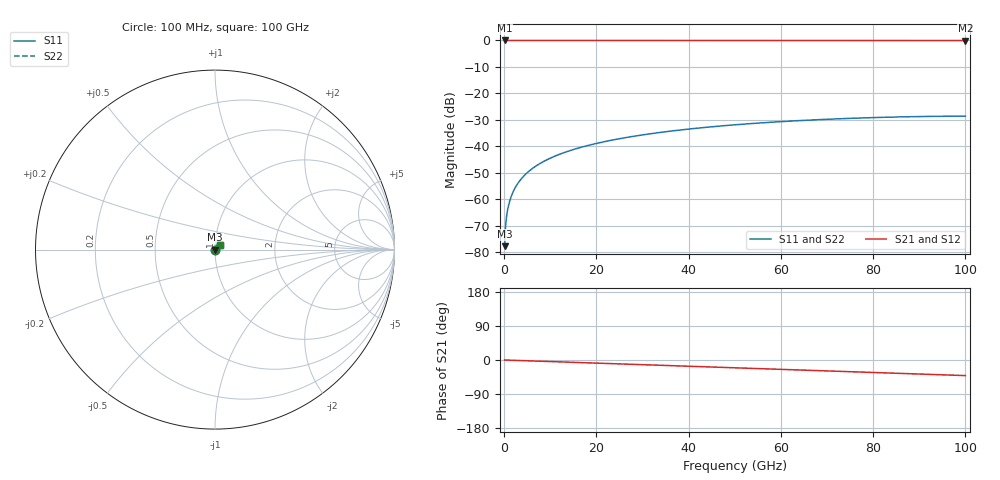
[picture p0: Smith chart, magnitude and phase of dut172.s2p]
! Touchstone file exported from HFSS 2026.1.0
!  File:  C:/ffzhzh/LocalFiles/Ansys_Project_Files/temp_train_TSV_172_1783506974_55944.aedt
!  Generated:  06:37:27 PM Jul  8, 2026
!  Design:  TSV
!  Project:  temp_train_TSV_172_1783506974_55944
! Variables:
!  h_bsmrdl = 2um
!  h_ox = 20um
!  h_rdl = 5um
!  h_sub = 79.19um
!  h_tmrdl = 5um
!  h_tsv = 79.19um
!  h_via = 3um
!  l_bsmrdl = 300um
!  l_sub = 425.8um
!  l_tmrdl = 200um
!  m_sub = 200um
!  pitch = 56.05um
!  r_tsv = 12.9um
!  s_tmrdl = 10um
!  w_bsmrdl = 18um
!  w_sub = 500um
!  w_tmrdl = 12um
!  x_tsv_center1 = 206um
!  x_tsv_center2 = 524um
!  x_tsv_center3 = 736um
!  x_tsv_center4 = 1054um
!  x_tsv_center5 = 1266um
!  x_tsv_center6 = 1584um
# GHz S MA R 50.000000
! Terminal data exported
! Port[1] = TSV1_1_T1
! Port[2] = TSV1_1_T2
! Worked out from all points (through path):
!   1000 points, 100 MHz to 100 GHz, reference 50 ohm
!   highest |S21| = 0.00 dB at 100 MHz (marker M1); lowest = 0.0 dB at 100 GHz (marker M2)
!   group delay of S21, straight-line fit = 1.14 ps
!   lowest |S11| = -77.8 dB at 100 MHz (marker M3), VSWR 1.00, Z = 50 + j0.00962 ohm
!   |S11| at or under -10 dB: start of sweep to end of sweep
!   |S22| runs from -77.8 to -28.6 dB; largest |S21 - S12| = 2.1e-15
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0.1  0.0001286 48.4  0.9999 -0.0  0.9999 -0.0  0.0001286 48.4
! Gamma 0 0 0 0
! Port Impedance 50 0 50 0
0.3  0.0002978 66.6  0.9999 -0.1  0.9999 -0.1  0.0002978 66.6
0.7  0.0005924 70.6  0.9998 -0.3  0.9998 -0.3  0.0005924 70.6
0.8  0.0006581 71.2  0.9998 -0.3  0.9998 -0.3  0.0006581 71.2
1  0.0007857 72.2  0.9998 -0.4  0.9998 -0.4  0.0007857 72.2
1.3  0.0009728 73.6  0.9997 -0.5  0.9997 -0.5  0.0009728 73.6
1.8  0.00128 75.3  0.9997 -0.8  0.9997 -0.8  0.00128 75.3
2.4  0.001643 76.5  0.9996 -1.0  0.9996 -1.0  0.001643 76.5
3.1  0.002058 77.3  0.9996 -1.3  0.9996 -1.3  0.002058 77.3
3.9  0.002523 77.9  0.9995 -1.6  0.9995 -1.6  0.002523 77.9
4.9  0.003094 78.4  0.9995 -2.0  0.9995 -2.0  0.003094 78.4
6.1  0.003772 78.8  0.9994 -2.5  0.9994 -2.5  0.003772 78.8
8.9  0.005332 78.9  0.9993 -3.7  0.9993 -3.7  0.005333 78.9
12.4  0.007249 78.3  0.9991 -5.1  0.9991 -5.1  0.00725 78.3
16.8  0.009603 77.3  0.999 -6.9  0.999 -6.9  0.009604 77.3
24.2  0.01345 75.2  0.9987 -9.9  0.9987 -9.9  0.01345 75.1
33.4  0.01801 72.1  0.9985 -13.7  0.9985 -13.7  0.01801 72.0
41.3  0.02168 69.2  0.9982 -16.9  0.9982 -16.9  0.02168 69.1
50.1  0.02542 65.9  0.998 -20.5  0.998 -20.5  0.02543 65.7
66.7  0.03134 59.5  0.9975 -27.4  0.9975 -27.4  0.03135 59.2
83.4  0.03542 52.9  0.9971 -34.3  0.9971 -34.3  0.03543 52.5
100  0.03699 46.4  0.9966 -41.2  0.9966 -41.2  0.03701 45.8
